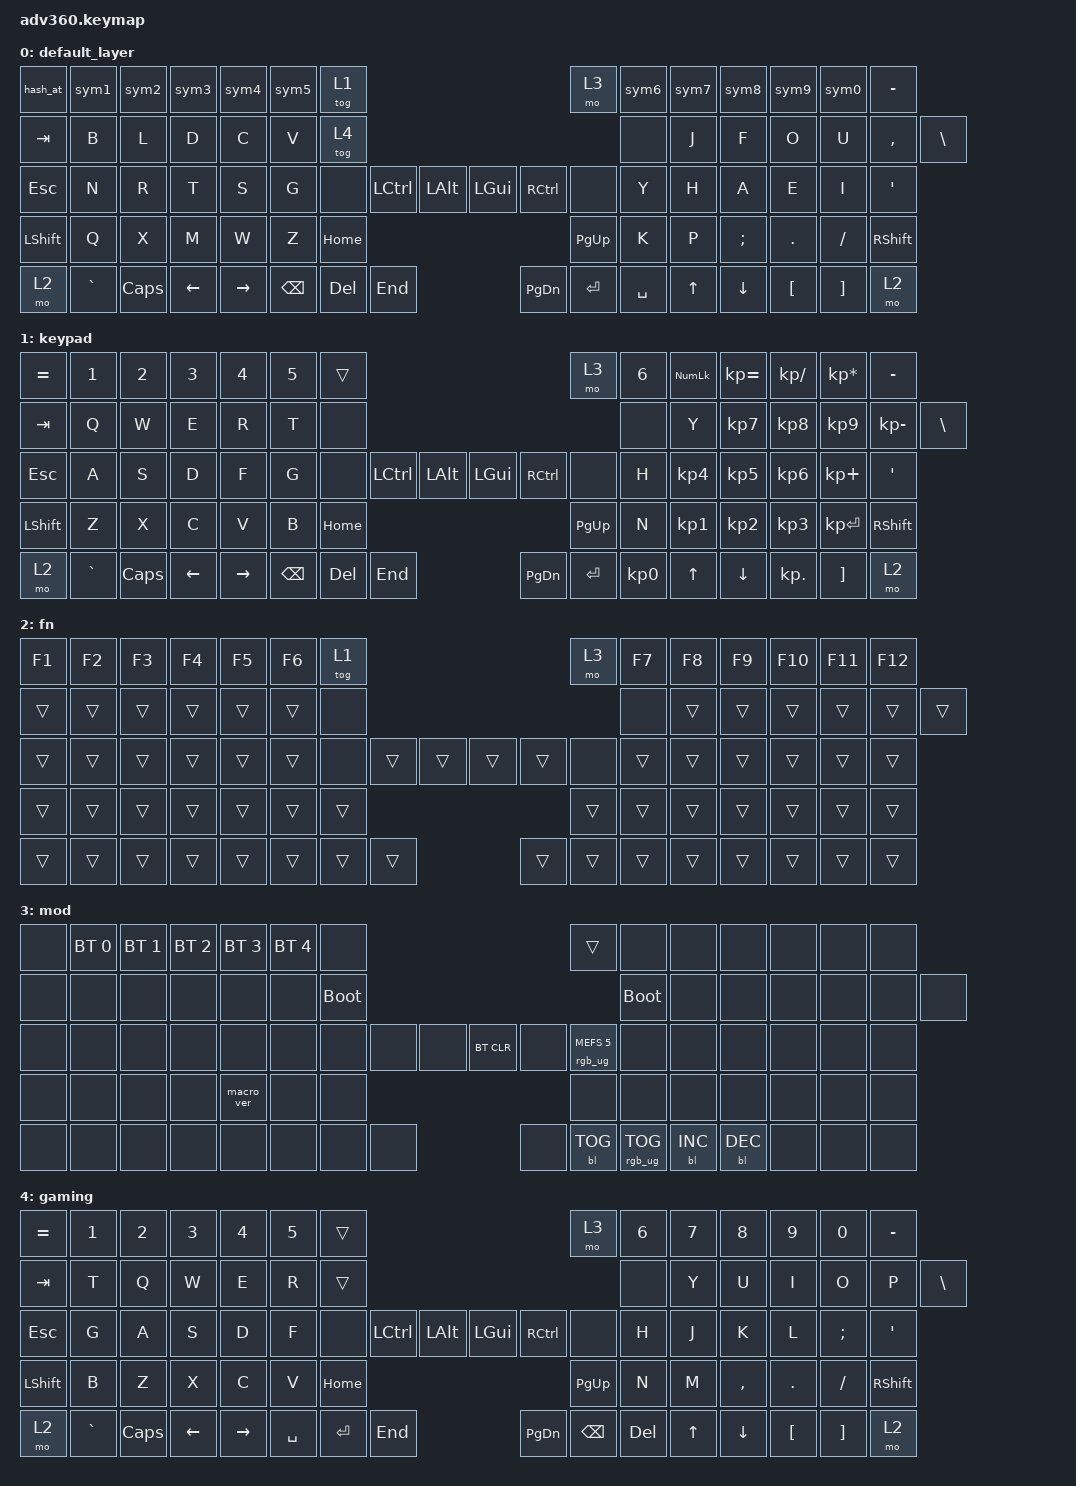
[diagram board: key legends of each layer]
#include <behaviors.dtsi>
#include <dt-bindings/zmk/keys.h>
#include <dt-bindings/zmk/bt.h>
#include <dt-bindings/zmk/rgb.h>
#include <dt-bindings/zmk/backlight.h>

/ {
    behaviors {
      #include "macros.dtsi"
      #include "version.dtsi"
      #ifndef VERSION_MACRO
      macro_ver: macro_ver {
        compatible = "zmk,behavior-macro";
        label = "macro_version";
        #binding-cells = <0>;
        bindings = <&kp RET>;
      };
      #endif

      hm: homerow_mods {
          compatible = "zmk,behavior-hold-tap";
          label = "HOMEROW_MODS";
          #binding-cells = <2>;
          tapping-term-ms = <200>;
          quick_tap_ms = <175>;
          flavor = "tap-preferred";
          bindings = <&kp>, <&kp>;
      };

      // Base top row:  # ! + = $ % ^ & * ( ) -
      // With Shift:   @ 1 2 3 4 5 6 7 8 9 0 _
      // Mask either held Shift for the second binding so digits stay unshifted.
      hash_at: hash_at {
          compatible = "zmk,behavior-mod-morph";
          label = "HASH_AT";
          #binding-cells = <0>;
          bindings = <&kp HASH>, <&kp AT>;
          mods = <(MOD_LSFT | MOD_RSFT)>;
      };
      sym1: symbol_one {
          compatible = "zmk,behavior-mod-morph";
          label = "SYMBOL_ONE";
          #binding-cells = <0>;
          bindings = <&kp EXCL>, <&kp N1>;
          mods = <(MOD_LSFT | MOD_RSFT)>;
      };
      sym2: symbol_two {
          compatible = "zmk,behavior-mod-morph";
          label = "SYMBOL_TWO";
          #binding-cells = <0>;
          bindings = <&kp PLUS>, <&kp N2>;
          mods = <(MOD_LSFT | MOD_RSFT)>;
      };
      sym3: symbol_three {
          compatible = "zmk,behavior-mod-morph";
          label = "SYMBOL_THREE";
          #binding-cells = <0>;
          bindings = <&kp EQUAL>, <&kp N3>;
          mods = <(MOD_LSFT | MOD_RSFT)>;
      };
      sym4: symbol_four {
          compatible = "zmk,behavior-mod-morph";
          label = "SYMBOL_FOUR";
          #binding-cells = <0>;
          bindings = <&kp DLLR>, <&kp N4>;
          mods = <(MOD_LSFT | MOD_RSFT)>;
      };
      sym5: symbol_five {
          compatible = "zmk,behavior-mod-morph";
          label = "SYMBOL_FIVE";
          #binding-cells = <0>;
          bindings = <&kp PRCNT>, <&kp N5>;
          mods = <(MOD_LSFT | MOD_RSFT)>;
      };
      sym6: symbol_six {
          compatible = "zmk,behavior-mod-morph";
          label = "SYMBOL_SIX";
          #binding-cells = <0>;
          bindings = <&kp CARET>, <&kp N6>;
          mods = <(MOD_LSFT | MOD_RSFT)>;
      };
      sym7: symbol_seven {
          compatible = "zmk,behavior-mod-morph";
          label = "SYMBOL_SEVEN";
          #binding-cells = <0>;
          bindings = <&kp AMPS>, <&kp N7>;
          mods = <(MOD_LSFT | MOD_RSFT)>;
      };
      sym8: symbol_eight {
          compatible = "zmk,behavior-mod-morph";
          label = "SYMBOL_EIGHT";
          #binding-cells = <0>;
          bindings = <&kp ASTRK>, <&kp N8>;
          mods = <(MOD_LSFT | MOD_RSFT)>;
      };
      sym9: symbol_nine {
          compatible = "zmk,behavior-mod-morph";
          label = "SYMBOL_NINE";
          #binding-cells = <0>;
          bindings = <&kp LPAR>, <&kp N9>;
          mods = <(MOD_LSFT | MOD_RSFT)>;
      };
      sym0: symbol_zero {
          compatible = "zmk,behavior-mod-morph";
          label = "SYMBOL_ZERO";
          #binding-cells = <0>;
          bindings = <&kp RPAR>, <&kp N0>;
          mods = <(MOD_LSFT | MOD_RSFT)>;
      };
    };

  keymap {
    compatible = "zmk,keymap";

    default_layer {
      bindings = <
        &hash_at  &sym1     &sym2    &sym3    &sym4      &sym5  &tog 1                                                           &mo 3 &sym6  &sym7  &sym8     &sym9    &sym0    &kp MINUS
        &kp TAB   &kp B     &kp L    &kp D    &kp C      &kp V  &tog 4                                                            &none &kp J  &kp F  &kp O     &kp U    &kp COMMA    &kp BSLH
        &kp ESC   &kp N     &kp R    &kp T    &kp S      &kp G  &none           &kp LCTRL &kp LALT &kp LGUI  &kp RCTRL           &none &kp Y  &kp H  &kp A     &kp E    &kp I &kp SQT
        &kp LSHFT &kp Q     &kp X    &kp M    &kp W      &kp Z                            &kp HOME &kp PG_UP                           &kp K  &kp P  &kp SEMI &kp DOT  &kp FSLH &kp RSHFT
        &mo 2 &kp GRAVE &kp CAPS &kp LEFT &kp RIGHT                &kp BSPC &kp DEL   &kp END  &kp PG_DN &kp ENTER &kp SPACE              &kp UP &kp DOWN  &kp LBKT &kp RBKT &mo 2
      >;
    };
    keypad {
      bindings = <
        &kp EQUAL &kp N1    &kp N2   &kp N3   &kp N4     &kp N5 &trans                                                           &mo 3 &kp N6 &kp KP_NUM &kp KP_EQUAL &kp KP_DIVIDE &kp KP_MULTIPLY &kp MINUS
        &kp TAB   &kp Q     &kp W    &kp E    &kp R      &kp T  &none                                                            &none &kp Y  &kp KP_N7  &kp KP_N8    &kp KP_N9     &kp KP_MINUS    &kp BSLH
        &kp ESC   &kp A     &kp S    &kp D    &kp F      &kp G  &none           &kp LCTRL &kp LALT &kp LGUI  &kp RCTRL           &none &kp H  &kp KP_N4  &kp KP_N5    &kp KP_N6     &kp KP_PLUS     &kp SQT
        &kp LSHFT &kp Z     &kp X    &kp C    &kp V      &kp B                            &kp HOME &kp PG_UP                           &kp N  &kp KP_N1  &kp KP_N2    &kp KP_N3     &kp KP_ENTER    &kp RSHFT
        &mo 2     &kp GRAVE &kp CAPS &kp LEFT &kp RIGHT                &kp BSPC &kp DEL   &kp END  &kp PG_DN &kp ENTER &kp KP_N0              &kp UP     &kp DOWN     &kp KP_DOT    &kp RBKT        &mo 2
      >;
    };
    fn {
      bindings = <
        &kp F1 &kp F2 &kp F3 &kp F4 &kp F5 &kp F6 &tog 1                                           &mo 3 &kp F7 &kp F8 &kp F9 &kp F10 &kp F11 &kp F12
        &trans &trans &trans &trans &trans &trans  &none                                           &none &trans &trans &trans &trans  &trans  &trans
        &trans &trans &trans &trans &trans &trans  &none        &trans &trans &trans &trans        &none &trans &trans &trans &trans  &trans  &trans
        &trans &trans &trans &trans &trans &trans                      &trans &trans                     &trans &trans &trans &trans  &trans  &trans
        &trans &trans &trans &trans &trans               &trans &trans &trans &trans &trans &trans              &trans &trans &trans  &trans  &trans
      >;
    };
    mod {
      bindings = <
        &none &bt BT_SEL 0 &bt BT_SEL 1 &bt BT_SEL 2 &bt BT_SEL 3 &bt BT_SEL 4 &none                                                                     &trans                 &none        &none        &none        &none &none &none
        &none &none        &none        &none        &none        &none        &bootloader                                                               &bootloader            &none        &none        &none        &none &none &none
        &none &none        &none        &none        &none        &none        &none                   &none &none &bt BT_CLR &none                      &rgb_ug RGB_MEFS_CMD 5 &none        &none        &none        &none &none &none
        &none &none        &none        &none        &macro_ver   &none                                      &none &none                                                        &none        &none        &none        &none &none &none
        &none &none        &none        &none        &none                                       &none &none &none &none      &bl BL_TOG &rgb_ug RGB_TOG                                     &bl BL_INC   &bl BL_DEC   &none &none &none
      >;
    };
    gaming {
      bindings = <
        &kp EQUAL &kp N1    &kp N2   &kp N3   &kp N4     &kp N5 &trans                                                           &mo 3 &kp N6 &kp N7 &kp N8    &kp N9   &kp N0   &kp MINUS
        &kp TAB   &kp T &kp Q     &kp W    &kp E    &kp R        &trans                                                            &none &kp Y  &kp U  &kp I     &kp O    &kp P    &kp BSLH
        &kp ESC   &kp G &kp A     &kp S    &kp D    &kp F       &none           &kp LCTRL &kp LALT &kp LGUI  &kp RCTRL           &none &kp H  &kp J  &kp K     &kp L    &kp SEMI &kp SQT
        &kp LSHFT &kp B &kp Z     &kp X    &kp C    &kp V                                 &kp HOME &kp PG_UP                           &kp N  &kp M  &kp COMMA &kp DOT  &kp FSLH &kp RSHFT
        &mo 2     &kp GRAVE &kp CAPS &kp LEFT &kp RIGHT                &kp SPACE &kp ENTER &kp END  &kp PG_DN &kp BSPC &kp DEL             &kp UP &kp DOWN  &kp LBKT &kp RBKT &mo 2
      >;
    };
  };
};


/* qwerty {
  bindings = <
  &kp EQUAL &kp N1    &kp N2   &kp N3   &kp N4     &kp N5 &trans                                                           &mo 3 &kp N6 &kp N7 &kp N8    &kp N9   &kp N0   &kp MINUS
  &kp TAB   &kp Q     &kp W    &kp E    &kp R      &kp T  &trans                                                            &none &kp Y  &kp U  &kp I     &kp O    &kp P    &kp BSLH  
  &kp ESC   &kp A     &kp S    &kp D    &kp F      &kp G  &none           &kp LCTRL &kp LALT &kp LGUI  &kp RCTRL           &none &kp H  &kp J  &kp K     &kp L    &kp SEMI &kp SQT
  &kp LSHFT &kp Z     &kp X    &kp C    &kp V      &kp B                            &kp HOME &kp PG_UP                           &kp N  &kp M  &kp COMMA &kp DOT  &kp FSLH &kp RSHFT
  &mo 2     &kp GRAVE &kp CAPS &kp LEFT &kp RIGHT                &kp BSPC &kp DEL   &kp END  &kp PG_DN &kp ENTER &kp SPACE              &kp UP &kp DOWN  &kp LBKT &kp RBKT &mo 2
  >;
}; */
